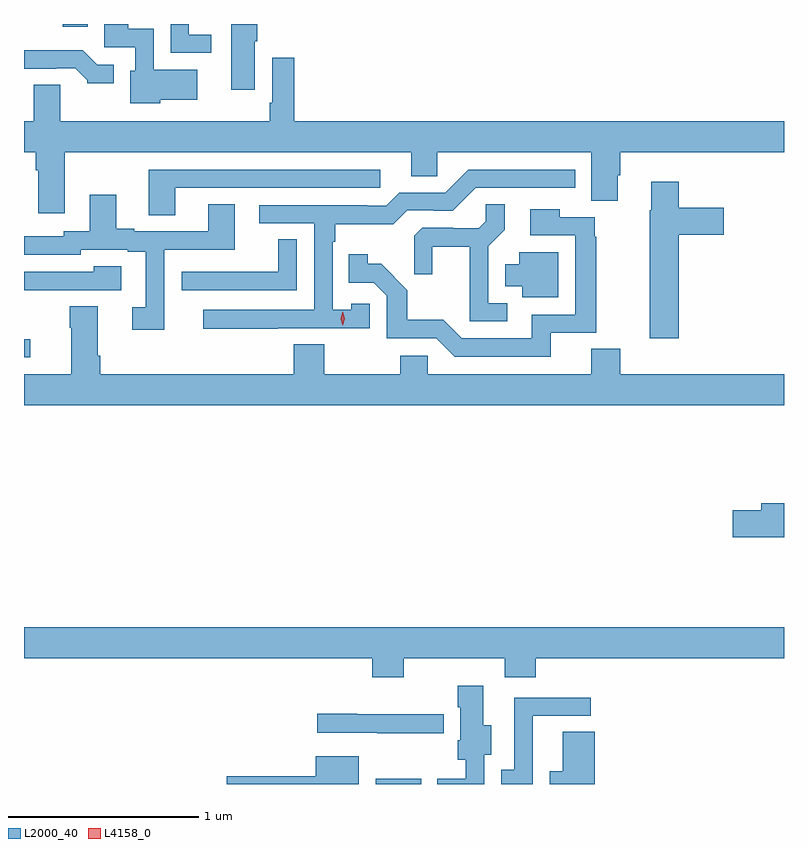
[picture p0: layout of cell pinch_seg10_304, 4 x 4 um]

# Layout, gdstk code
import gdstk
lib = gdstk.Library(unit=1e-6, precision=1e-09)
def R(c, l, rs):  # rectangles x0, y0, x1, y1
    for r in rs: c.add(gdstk.rectangle(r[:2], r[2:], *l))
def P(c, l, *ps):  # polygons
    for p in ps: c.add(gdstk.Polygon(p, *l))
L2000_40 = (2000, 40)
L4158_0 = (4158, 0)

pinch_seg10_304 = lib.new_cell('pinch_seg10_304')
R(pinch_seg10_304, L2000_40, [(506.447,1254.367,506.687,1254.394), (504.596,1256.613,504.628,1256.709), (504.8,1258.353,504.931,1258.367)])
P(pinch_seg10_304, L2000_40, [(505.81,1258.276),(505.823,1258.276),(505.823,1258.367),(505.688,1258.367),(505.688,1258.02),(505.81,1258.02)],
  [(505.314,1257.968),(505.507,1257.968),(505.507,1258.126),(505.278,1258.126),(505.278,1258.342),(505.144,1258.342),(505.144,1258.367),(505.019,1258.367),(505.019,1258.245),(505.182,1258.245),(505.182,1258.122),(505.154,1258.122),(505.154,1257.95),(505.314,1257.95)],
  [(505.582,1258.311),(505.464,1258.311),(505.464,1258.367),(505.368,1258.367),(505.368,1258.215),(505.582,1258.215)],
  [(505.069,1258.152),(504.981,1258.152),(504.905,1258.228),(504.596,1258.228),(504.596,1258.131),(504.767,1258.131),(504.767,1258.134),(504.866,1258.134),(504.93,1258.07),(504.93,1258.055),(505.069,1258.055)],
  [(504.811,1257.692),(506.633,1257.692),(506.633,1257.565),(506.772,1257.565),(506.772,1257.692),(507.581,1257.692),(507.581,1257.436),(507.721,1257.436),(507.721,1257.57),(507.734,1257.57),(507.734,1257.692),(508.596,1257.692),(508.596,1257.856),(506.018,1257.856),(506.018,1258.189),(505.902,1258.189),(505.902,1257.952),(505.89,1257.952),(505.89,1257.856),(504.787,1257.856),(504.787,1258.046),(504.647,1258.046),(504.647,1257.856),(504.596,1257.856),(504.596,1257.692),(504.659,1257.692),(504.659,1257.596),(504.671,1257.596),(504.671,1257.372),(504.811,1257.372)],
  [(505.393,1257.504),(506.47,1257.504),(506.47,1257.6),(505.253,1257.6),(505.253,1257.361),(505.393,1257.361)],
  [(505.931,1256.766),(506.415,1256.766),(506.415,1256.895),(506.319,1256.895),(506.319,1256.863),(506.22,1256.863),(506.22,1257.221),(506.233,1257.221),(506.233,1257.314),(506.54,1257.314),(506.613,1257.387),(506.752,1257.387),(506.752,1257.384),(506.853,1257.384),(506.973,1257.504),(507.496,1257.504),(507.496,1257.6),(506.934,1257.6),(506.814,1257.48),(506.571,1257.48),(506.502,1257.411),(506.402,1257.411),(506.402,1257.414),(505.833,1257.414),(505.833,1257.318),(506.124,1257.318),(506.124,1256.862),(505.539,1256.862),(505.539,1256.764),(505.931,1256.764)],
  [(508.043,1257.257),(508.279,1257.257),(508.279,1257.399),(508.043,1257.399),(508.043,1257.538),(507.896,1257.538),(507.896,1257.387),(507.889,1257.387),(507.889,1256.712),(508.043,1256.712)],
  [(505.335,1257.18),(505.705,1257.18),(505.705,1257.419),(505.565,1257.419),(505.565,1257.276),(505.177,1257.276),(505.177,1257.289),(505.081,1257.289),(505.081,1257.469),(504.941,1257.469),(504.941,1257.276),(504.804,1257.276),(504.804,1257.249),(504.596,1257.249),(504.596,1257.153),(504.894,1257.153),(504.894,1257.18),(505.142,1257.18),(505.142,1257.168),(505.238,1257.168),(505.238,1256.877),(505.167,1256.877),(505.167,1256.757),(505.335,1256.757)],
  [(507.139,1256.898),(507.039,1256.898),(507.039,1257.197),(507.125,1257.283),(507.125,1257.419),(507.027,1257.419),(507.027,1257.328),(506.99,1257.291),(506.856,1257.291),(506.856,1257.294),(506.691,1257.294),(506.65,1257.253),(506.65,1257.051),(506.744,1257.051),(506.744,1257.194),(506.942,1257.194),(506.942,1256.802),(507.139,1256.802)],
  [(507.368,1256.742),(507.607,1256.742),(507.607,1257.248),(507.599,1257.248),(507.599,1257.351),(507.417,1257.351),(507.417,1257.391),(507.261,1257.391),(507.261,1257.255),(507.498,1257.255),(507.498,1256.838),(507.269,1256.838),(507.269,1256.712),(506.901,1256.712),(506.803,1256.811),(506.614,1256.811),(506.614,1256.966),(506.476,1257.104),(506.406,1257.104),(506.406,1257.154),(506.305,1257.154),(506.305,1257.006),(506.436,1257.006),(506.505,1256.937),(506.505,1256.712),(506.766,1256.712),(506.862,1256.616),(507.368,1256.616)],
  [(506.031,1257.233),(505.933,1257.233),(505.933,1257.063),(505.537,1257.063),(505.537,1257.062),(505.425,1257.062),(505.425,1256.967),(506.031,1256.967)],
  [(507.409,1257.166),(507.203,1257.166),(507.203,1257.103),(507.128,1257.103),(507.128,1256.987),(507.218,1256.987),(507.218,1256.93),(507.409,1256.93)],
  [(504.749,1256.967),(505.108,1256.967),(505.108,1257.091),(504.963,1257.091),(504.963,1257.063),(504.596,1257.063),(504.596,1256.965),(504.749,1256.965)],
  [(508.596,1256.524),(507.734,1256.524),(507.734,1256.657),(507.581,1256.657),(507.581,1256.524),(506.721,1256.524),(506.721,1256.622),(506.575,1256.622),(506.575,1256.524),(506.175,1256.524),(506.175,1256.681),(506.015,1256.681),(506.015,1256.524),(504.998,1256.524),(504.998,1256.62),(504.985,1256.62),(504.985,1256.881),(504.838,1256.881),(504.838,1256.768),(504.845,1256.768),(504.845,1256.524),(504.596,1256.524),(504.596,1256.36),(508.596,1256.36)],
  [(508.596,1255.844),(508.475,1255.844),(508.475,1255.808),(508.326,1255.808),(508.326,1255.666),(508.596,1255.666)],
  [(506.594,1255.028),(507.125,1255.028),(507.125,1254.929),(507.29,1254.929),(507.29,1255.028),(508.596,1255.028),(508.596,1255.192),(504.596,1255.192),(504.596,1255.028),(506.429,1255.028),(506.429,1254.929),(506.594,1254.929)],
  [(507.018,1254.52),(507.055,1254.52),(507.055,1254.675),(507.013,1254.675),(507.013,1254.883),(506.88,1254.883),(506.88,1254.77),(506.891,1254.77),(506.891,1254.598),(506.879,1254.598),(506.879,1254.494),(506.92,1254.494),(506.92,1254.394),(506.772,1254.394),(506.772,1254.367),(507.018,1254.367)],
  [(507.273,1254.529),(507.274,1254.529),(507.274,1254.726),(507.58,1254.726),(507.58,1254.822),(507.177,1254.822),(507.177,1254.441),(507.107,1254.441),(507.107,1254.367),(507.273,1254.367)],
  [(506.806,1254.734),(506.351,1254.734),(506.351,1254.737),(506.139,1254.737),(506.139,1254.636),(506.455,1254.636),(506.455,1254.634),(506.806,1254.634)],
  [(507.599,1254.641),(507.431,1254.641),(507.431,1254.433),(507.362,1254.433),(507.362,1254.367),(507.599,1254.367)],
  [(506.359,1254.514),(506.132,1254.514),(506.132,1254.407),(505.662,1254.407),(505.662,1254.367),(506.359,1254.367)])
P(pinch_seg10_304, L4158_0, [(506.274,1256.781),(506.274,1256.781),(506.264,1256.817),(506.274,1256.853),(506.274,1256.853),(506.274,1256.853),(506.284,1256.817),(506.274,1256.781)])

lib.write_gds('pinch_seg10_304.gds')
